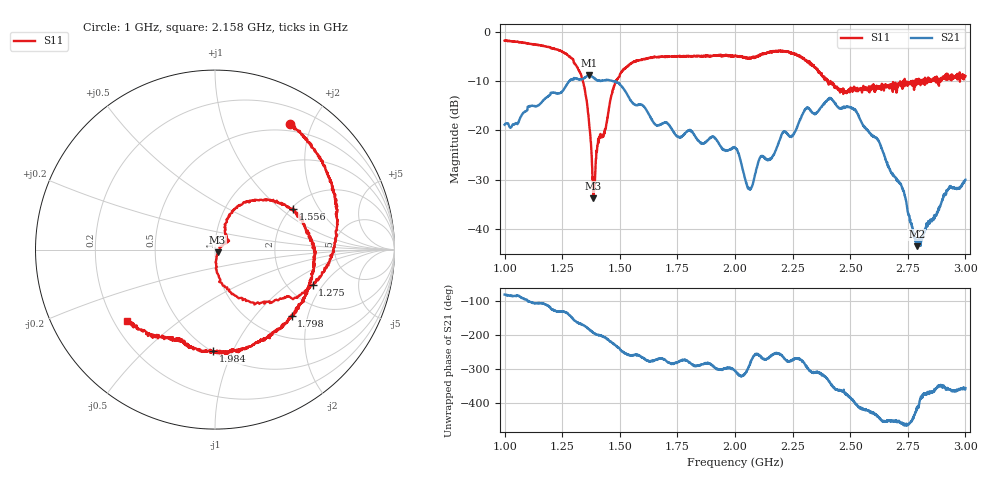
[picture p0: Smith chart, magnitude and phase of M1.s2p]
# HZ S RI R 50
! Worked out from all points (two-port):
!   2020 points, 1 GHz to 3 GHz, reference 50 ohm
!   highest |S21| = -8.77 dB at 1.366 GHz (marker M1); lowest = -43.5 dB at 2.789 GHz (marker M2)
!   |S21| within 3 dB of the highest: 1.256 GHz to 1.52 GHz (264.2 MHz wide, 19 % of centre)
!   lowest |S11| = -33.8 dB at 1.385 GHz (marker M3), VSWR 1.04, Z = 51.4 - j1.5 ohm
!   |S11| at or under -10 dB: 1.339 GHz to 1.484 GHz (144.2 MHz wide, 10.2 % of centre); 2.415 GHz to 2.729 GHz (313.8 MHz wide, 12.2 % of centre); 2.737 GHz to 2.764 GHz (27.28 MHz wide, 0.992 % of centre)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
!   S12 and S22 are empty: the file has one direction only
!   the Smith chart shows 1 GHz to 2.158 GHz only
!   S11 on the Smith chart (normalised r, x): 1 GHz: 0.41, +1.68; 1.275 GHz: 2.69, -1.60; 1.556 GHz: 2.04, +1.22; 1.798 GHz: 1.47, -1.59; 1.984 GHz: 0.51, -0.84; 2.158 GHz: 0.25, -0.34
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1e9  0.4158 0.6999  0.0157 -0.1134  0 0  0 0
1.167409e9  0.672 0.2574  -0.0631 -0.1917  0 0  0 0
1.275382e9  0.5439 -0.1978  -0.2281 -0.2042  0 0  0 0
1.333828e9  0.1976 -0.2934  -0.3235 -0.0572  0 0  0 0
1.365526e9  0.0114 -0.1303  -0.3637 0.0216  0 0  0 0
1.385338e9  0.0145 -0.0146  -0.3345 0.0849  0 0  0 0
1.475481e9  0.133 0.247  -0.2151 0.232  0 0  0 0
1.55572e9  0.4341 0.2275  -0.0335 0.1866  0 0  0 0
1.667656e9  0.5517 -0.0677  0.00156 0.1124  0 0  0 0
1.798414e9  0.427 -0.3677  0.0175 0.0982  0 0  0 0
1.983654e9  -0.0106 -0.5656  0.0301 0.0571  0 0  0 0
2.000494e9  -0.0723 -0.5645  0.0392 0.0539  0 0  0 0
2.062901e9  -0.217 -0.5025  0.00869 0.0246  0 0  0 0
2.110449e9  -0.3235 -0.4749  -0.0059 0.0534  0 0  0 0
2.157998e9  -0.4883 -0.3988  -0.00831 0.0518  0 0  0 0
2.236254e9  -0.6175 0.00168  0.0122 0.0862  0 0  0 0
2.334323e9  -0.2792 0.3591  0.1028 0.1135  0 0  0 0
2.516591e9  0.0768 0.2673  0.1318 -0.0981  0 0  0 0
2.66716e9  0.2815 0.0674  -0.00108 -0.042  0 0  0 0
2.726596e9  0.2636 -0.0162  -0.00413 -0.0257  0 0  0 0
2.789003e9  0.2999 -0.1334  0.0033 -0.00585  0 0  0 0
2.999999e9  0.1624 -0.3163  0.0316 0.00187  0 0  0 0
